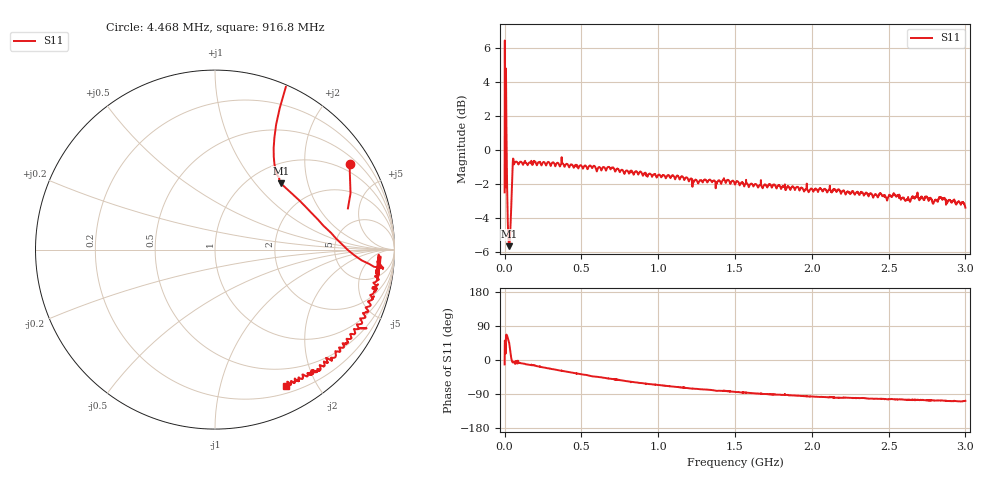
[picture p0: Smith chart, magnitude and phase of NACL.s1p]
# HZ S RI R 50
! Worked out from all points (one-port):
!   2020 points, 10 kHz to 3 GHz, reference 50 ohm
!   lowest |S11| = -5.7 dB at 29.73 MHz (marker M1), VSWR 3.17, Z = 67.7 + j68.6 ohm
!   |S11| at or under -10 dB: nowhere
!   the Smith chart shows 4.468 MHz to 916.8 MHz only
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10000  0.7337 -0.152
7439395  0.7405 0.2294
1.635467e7  0.3407 0.6976
1.784055e7  0.331 0.6245
1.932643e7  0.3268 0.5658
2.378406e7  0.3367 0.4464
2.675582e7  0.3582 0.3973
2.972758e7  0.3659 0.3696
3.864285e7  0.5741 0.1668
4.904401e7  0.8179 -0.0603
5.795928e7  0.9331 -0.0991
6.687456e7  0.9137 -0.0893
1.887166e8  0.8997 -0.2139
3.759374e8  0.7997 -0.4421
5.691017e8  0.6471 -0.6021
7.503789e8  0.5157 -0.6876
8.751927e8  0.4239 -0.741
1.126306e9  0.2683 -0.7951
1.378906e9  0.1197 -0.7858
1.500748e9  0.0804 -0.7868
1.875189e9  -0.045 -0.777
2.158992e9  -0.1247 -0.7437
2.251117e9  -0.1316 -0.7296
2.543835e9  -0.1772 -0.7124
2.625558e9  -0.1813 -0.6964
2.843982e9  -0.2103 -0.6883
2.962853e9  -0.2296 -0.6605
3e9  -0.2068 -0.6432
